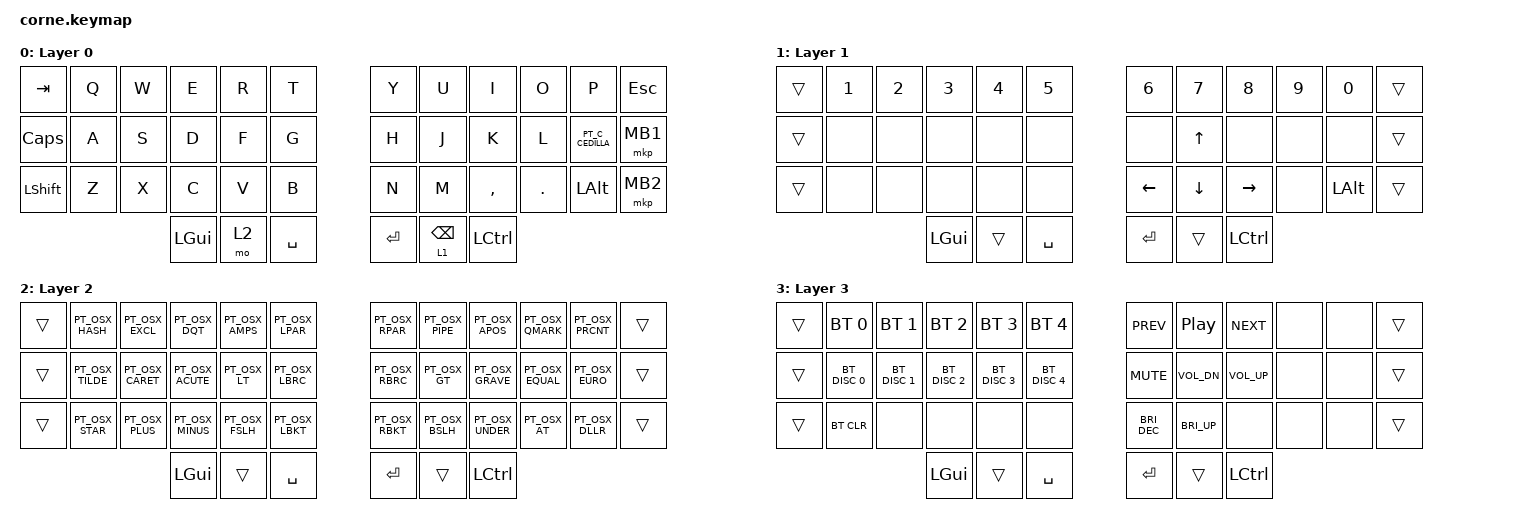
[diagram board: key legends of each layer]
/*
 * Copyright (c) 2020 The ZMK Contributors
 *
 * SPDX-License-Identifier: MIT
 */

#include <behaviors.dtsi>
#include <dt-bindings/zmk/keys.h>
#include <dt-bindings/zmk/bt.h>
#include <locale/keys_pt.h>
#include "keys_pt_osx.h"
#include <dt-bindings/zmk/pointing.h>

&mt {
    tapping-term-ms = <150>;
};

/ {

        kscan: kscan {
                compatible = "zmk,kscan-gpio-matrix";
                diode-direction = "col2row";
                wakeup-source;
        };

        conditional_layers {
                compatible = "zmk,conditional-layers";
                tri_layer {
                        if-layers = <1 2>;
                        then-layer = <3>;
                };
        };
        
        keymap {
                compatible = "zmk,keymap";

                default_layer {
                        display-name = "Layer 0";
// ---------------------------------------    -------------------------------------------
// | TAB   |  Q  |  W  |  E  |  R  |  T  |    |  Y  |  U  |  I  |  O  |    P   |   ESC  |
// | CAPS  |  A  |  S  |  D  |  F  |  G  |    |  H  |  J  |  K  |  L  |    Ç   |   MB1  |
// | SHIFT |  Z  |  X  |  C  |  V  |  B  |    |  N  |  M  |  ,  |  .  |  LALT  |   MB2  |
//                     | GUI | LWR | SPC |    | ENT | RSE BSPC | CTRL |
                        bindings = <
   &kp TAB &kp Q &kp W &kp E &kp R &kp T   &kp Y &kp U  &kp I     &kp O   &kp P   &kp ESC
   &kp CAPS &kp A &kp S &kp D &kp F &kp G   &kp H &kp J  &kp K     &kp L   &kp PT_C_CEDILLA  &mkp MB1
   &kp LSHIFT &kp Z &kp X &kp C &kp V &kp B   &kp N &kp M  &kp COMMA &kp DOT &kp LALT  &mkp MB2
        &kp LGUI &mo 2 &kp SPACE   &kp RET &lt 1 BSPC &kp LCTRL
                        >;
                };
                lower_layer {
                        display-name = "Layer 1";
// -------------------------------   -------------------------------------
// |  1  |  2  |  3  |  4  |  5  |   |  6  |  7   |  8   |  9  |   0  |
// |     |     |     |     |     |   |     |  UP  |      |     |      |
// |     |     |     |     |     |   | LFT | DOWN | RGT  |     | LALT |
//             | GUI |     | SPC |   | ENT |      | CTRL |
                        bindings = <
   &trans &kp N1 &kp N2 &kp N3 &kp N4 &kp N5   &kp N6 &kp N7 &kp N8 &kp N9 &kp N0 &trans
   &trans &none &none &none &none &none   &none &kp UP &none &none &none &trans
   &trans &none &none &none &none &none   &kp LEFT &kp DOWN &kp RIGHT &none &kp LALT &trans
        &kp LGUI &trans &kp SPACE   &kp RET &trans &kp LCTRL
                        >;
                };

                raise_layer {
                        display-name = "Layer 2";
// -------------------------------   -------------------------------
// |  #  |  !  |  "  |  &  |  (  |   |  )  | "|" |  '  |  ?  |  %  |
// |  ~  |  ^  |  ´  |  <  |  {  |   |  }  |  >  |  `  |  =  |  €  |
// |  *  |  +  |  -  |  /  |  [  |   |  ]  |  \  |  _  |  @  |  $  |
//             | GUI |     | SPC |   | ENT |     | CTRL |
                        bindings = <
   &trans &kp PT_OSX_HASH &kp PT_OSX_EXCL &kp PT_OSX_DQT &kp PT_OSX_AMPS &kp PT_OSX_LPAR   &kp PT_OSX_RPAR &kp PT_OSX_PIPE &kp PT_OSX_APOS &kp PT_OSX_QMARK &kp PT_OSX_PRCNT &trans
   &trans &kp PT_OSX_TILDE &kp PT_OSX_CARET &kp PT_OSX_ACUTE &kp PT_OSX_LT &kp PT_OSX_LBRC   &kp PT_OSX_RBRC &kp PT_OSX_GT &kp PT_OSX_GRAVE &kp PT_OSX_EQUAL &kp PT_OSX_EURO &trans
   &trans &kp PT_OSX_STAR &kp PT_OSX_PLUS &kp PT_OSX_MINUS &kp PT_OSX_FSLH &kp PT_OSX_LBKT   &kp PT_OSX_RBKT &kp PT_OSX_BSLH &kp PT_OSX_UNDER &kp PT_OSX_AT &kp PT_OSX_DLLR &trans
        &kp LGUI &trans &kp SPACE   &kp RET &trans &kp LCTRL
                        >;
                };

                tri_layer {
                        display-name = "Layer 3";
// -----------------------------------------    -------------------------------------
// |  BT1  |  BT2  |  BT3  |  BT4  |  BT5  |    | PREV  | PAUSE |  NEXT |     |     |
// |BTDISC1|BTDISC2|BTDISC3|BTDISC4|BTDISC5|    | MUTE  | VDOWN |  VUP  |     |     |
// | BTCLR |       |       |       |       |    | BRDWN | BRUP  |       |     |     |
//                 |  GUI  |       |  SPC  |    |  ENT  |       |  CTRL |
                        bindings = <
   &trans &bt BT_SEL 0 &bt BT_SEL 1 &bt BT_SEL 2 &bt BT_SEL 3 &bt BT_SEL 4   &kp C_PREV &kp C_PP &kp C_NEXT &none &none &trans
   &trans &bt BT_DISC 0 &bt BT_DISC 1 &bt BT_DISC 2 &bt BT_DISC 3 &bt BT_DISC 4   &kp C_MUTE &kp C_VOL_DN &kp C_VOL_UP &none &none &trans
   &trans &bt BT_CLR &none &none &none &none   &kp C_BRI_DEC &kp C_BRI_UP &none &none &none &trans
        &kp LGUI &trans &kp SPACE   &kp RET &trans &kp LCTRL
                        >;
                };
        };
};
